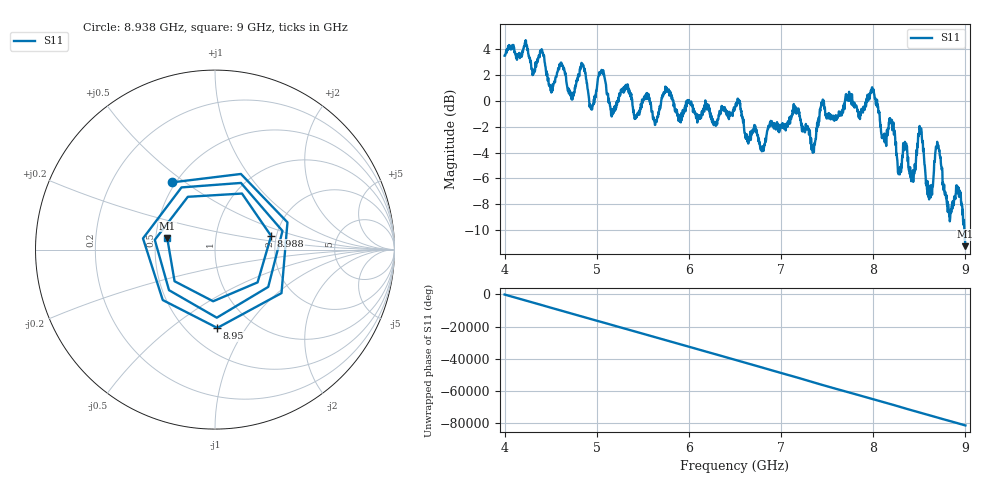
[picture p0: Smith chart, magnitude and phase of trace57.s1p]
! Created with skrf 1.8.0 (http://scikit-rf.org).
# Hz S RI R 50.0
!freq ReS11 ImS11
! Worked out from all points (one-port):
!   1601 points, 4 GHz to 9 GHz, reference 50 ohm
!   lowest |S11| = -11.2 dB at 9 GHz (marker M1), VSWR 1.76, Z = 28.8 + j4.03 ohm
!   |S11| at or under -10 dB: 8.98873 GHz to end of sweep
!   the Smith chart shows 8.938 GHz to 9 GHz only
!   S11 on the Smith chart (normalised r, x): 8.938 GHz: 0.48, +0.44; 8.95 GHz: 0.69, -0.75; 8.988 GHz: 1.87, +0.32; 9 GHz: 0.58, +0.08
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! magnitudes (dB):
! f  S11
! 4 GHz  3.5
! 4.625 GHz  2.8
! 4.722 GHz  0.4
! 4.85 GHz  2.7
! 4.941 GHz  -0.6
! 5.047 GHz  2.3
! 5.162 GHz  -1.2
! 5.25 GHz  0.5
! 5.875 GHz  -1.2
! 6.5 GHz  -0.5
! 6.797 GHz  -3.7
! 7.125 GHz  -0.7
! 7.347 GHz  -3.9
! 7.444 GHz  -0.3
! 7.75 GHz  0.2
! 7.991 GHz  0.9
! 8.209 GHz  -2.3
! 8.284 GHz  -5.3
! 8.375 GHz  -4.7
! 8.434 GHz  -6.3
! 8.512 GHz  -2.2
! 8.603 GHz  -6.7
! 8.697 GHz  -3.4
! 8.822 GHz  -8.6
! 8.938 GHz  -7.0
! 8.95 GHz  -7.2
! 8.988 GHz  -9.8
! 9 GHz  -11.2
